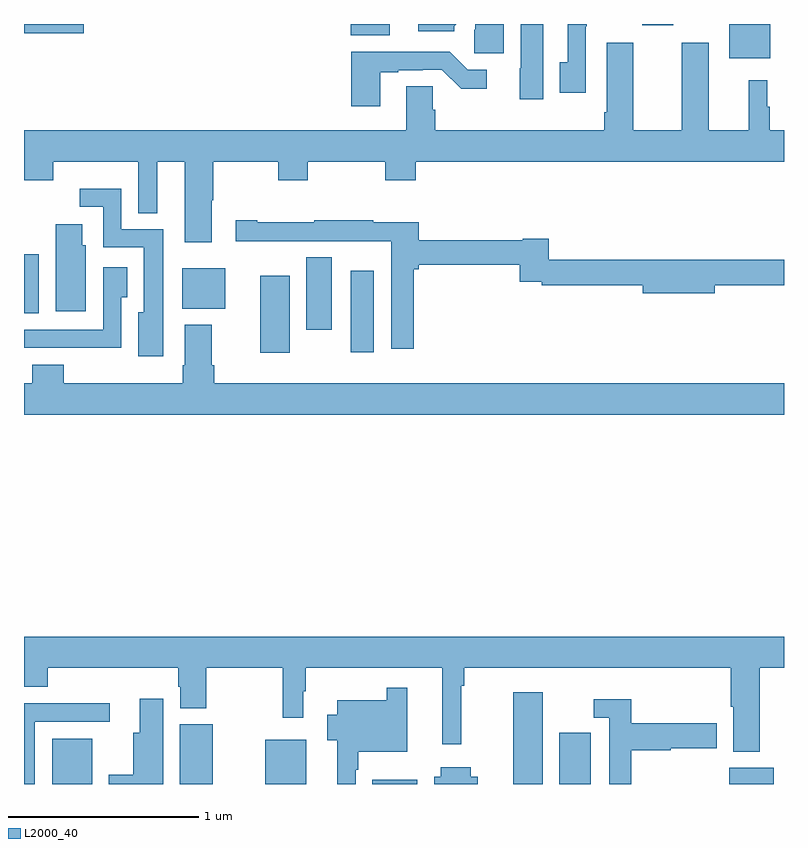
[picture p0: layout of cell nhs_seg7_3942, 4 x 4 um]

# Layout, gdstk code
import gdstk
lib = gdstk.Library(unit=1e-6, precision=1e-09)
def R(c, l, rs):  # rectangles x0, y0, x1, y1
    for r in rs: c.add(gdstk.rectangle(r[:2], r[2:], *l))
def P(c, l, *ps):  # polygons
    for p in ps: c.add(gdstk.Polygon(p, *l))
L2000_40 = (2000, 40)

nhs_seg7_3942 = lib.new_cell('nhs_seg7_3942')
R(nhs_seg7_3942, L2000_40, [(361.148,1004,361.36,1004.239), (361.82,1004,361.993,1004.314), (362.27,1004,362.485,1004.233), (362.834,1004,363.07,1004.023), (363.575,1004,363.73,1004.482), (363.818,1004,363.982,1004.269), (364.712,1004,364.945,1004.086), (362.243,1006.269,362.398,1006.675), (362.72,1006.272,362.842,1006.702), (362.486,1006.392,362.62,1006.772), (361,1006.477,361.078,1006.788), (361.832,1006.502,362.059,1006.714), (364.712,1007.819,364.927,1008), (362.72,1007.942,362.926,1008), (361,1007.951,361.315,1008), (364.253,1007.994,364.417,1008)])
P(nhs_seg7_3942, L2000_40, [(363.526,1008),(363.374,1008),(363.374,1007.97),(363.37,1007.97),(363.37,1007.847),(363.526,1007.847)],
  [(363.733,1008),(363.614,1008),(363.614,1007.766),(363.608,1007.766),(363.608,1007.604),(363.733,1007.604)],
  [(363.264,1007.988),(363.276,1008),(363.074,1008),(363.074,1007.963),(363.264,1007.963)],
  [(363.957,1007.989),(363.962,1007.989),(363.962,1008),(363.861,1008),(363.861,1007.798),(363.821,1007.798),(363.821,1007.637),(363.957,1007.637)],
  [(361.987,1007.072),(361.995,1007.072),(361.995,1007.276),(362.338,1007.276),(362.338,1007.177),(362.493,1007.177),(362.493,1007.276),(362.902,1007.276),(362.902,1007.177),(363.062,1007.177),(363.062,1007.276),(365,1007.276),(365,1007.44),(364.924,1007.44),(364.924,1007.564),(364.912,1007.564),(364.912,1007.704),(364.814,1007.704),(364.814,1007.44),(364.603,1007.44),(364.603,1007.902),(364.463,1007.902),(364.463,1007.44),(364.207,1007.44),(364.207,1007.902),(364.067,1007.902),(364.067,1007.536),(364.055,1007.536),(364.055,1007.44),(363.164,1007.44),(363.164,1007.55),(363.15,1007.55),(363.15,1007.672),(363.011,1007.672),(363.011,1007.44),(361,1007.44),(361,1007.177),(361.155,1007.177),(361.155,1007.276),(361.601,1007.276),(361.601,1007.005),(361.702,1007.005),(361.702,1007.276),(361.847,1007.276),(361.847,1006.851),(361.987,1006.851)],
  [(362.875,1007.745),(362.971,1007.745),(362.971,1007.757),(363.098,1007.757),(363.098,1007.76),(363.198,1007.76),(363.301,1007.658),(363.436,1007.658),(363.436,1007.76),(363.336,1007.76),(363.242,1007.854),(362.723,1007.854),(362.723,1007.568),(362.875,1007.568)],
  [(361.732,1006.92),(361.512,1006.92),(361.512,1007.134),(361.293,1007.134),(361.293,1007.037),(361.416,1007.037),(361.416,1006.824),(361.631,1006.824),(361.631,1006.483),(361.601,1006.483),(361.601,1006.251),(361.732,1006.251)],
  [(363.05,1006.709),(363.077,1006.709),(363.077,1006.732),(363.608,1006.732),(363.608,1006.644),(363.724,1006.644),(363.724,1006.624),(364.256,1006.624),(364.256,1006.582),(364.636,1006.582),(364.636,1006.624),(365,1006.624),(365,1006.76),(363.761,1006.76),(363.761,1006.869),(363.624,1006.869),(363.624,1006.861),(363.077,1006.861),(363.077,1006.956),(362.837,1006.956),(362.837,1006.966),(362.527,1006.966),(362.527,1006.956),(362.227,1006.956),(362.227,1006.966),(362.115,1006.966),(362.115,1006.856),(362.39,1006.856),(362.39,1006.857),(362.724,1006.857),(362.724,1006.856),(362.934,1006.856),(362.934,1006.29),(363.05,1006.29)],
  [(361.324,1006.836),(361.306,1006.836),(361.306,1006.945),(361.166,1006.945),(361.166,1006.488),(361.324,1006.488)],
  [(361.512,1006.561),(361.543,1006.561),(361.543,1006.72),(361.416,1006.72),(361.416,1006.392),(361,1006.392),(361,1006.296),(361.291,1006.296),(361.291,1006.295),(361.512,1006.295)],
  [(365,1006.108),(362,1006.108),(362,1006.204),(361.987,1006.204),(361.987,1006.417),(361.847,1006.417),(361.847,1006.204),(361.835,1006.204),(361.835,1006.108),(361.208,1006.108),(361.208,1006.207),(361.043,1006.207),(361.043,1006.108),(361,1006.108),(361,1005.944),(365,1005.944)],
  [(361,1004.513),(361.124,1004.513),(361.124,1004.612),(361.811,1004.612),(361.811,1004.511),(361.823,1004.511),(361.823,1004.399),(361.959,1004.399),(361.959,1004.612),(362.361,1004.612),(362.361,1004.349),(362.469,1004.349),(362.469,1004.489),(362.482,1004.489),(362.482,1004.612),(363.2,1004.612),(363.2,1004.208),(363.302,1004.208),(363.302,1004.516),(363.317,1004.516),(363.317,1004.612),(364.721,1004.612),(364.721,1004.407),(364.733,1004.407),(364.733,1004.171),(364.873,1004.171),(364.873,1004.612),(365,1004.612),(365,1004.776),(361,1004.776)],
  [(362.745,1004.075),(362.758,1004.075),(362.758,1004.171),(363.018,1004.171),(363.018,1004.506),(362.91,1004.506),(362.91,1004.44),(362.648,1004.44),(362.648,1004.365),(362.597,1004.365),(362.597,1004.231),(362.648,1004.231),(362.648,1004),(362.745,1004)],
  [(361.732,1004.449),(361.61,1004.449),(361.61,1004.269),(361.574,1004.269),(361.574,1004.05),(361.445,1004.05),(361.445,1004),(361.732,1004)],
  [(364.196,1004.177),(364.403,1004.177),(364.403,1004.189),(364.645,1004.189),(364.645,1004.319),(364.196,1004.319),(364.196,1004.446),(363.999,1004.446),(363.999,1004.349),(364.08,1004.349),(364.08,1004),(364.196,1004)],
  [(361.057,1004.328),(361.45,1004.328),(361.45,1004.426),(361,1004.426),(361,1004),(361.057,1004)],
  [(363.388,1004.038),(363.352,1004.038),(363.352,1004.089),(363.194,1004.089),(363.194,1004.038),(363.158,1004.038),(363.158,1004),(363.388,1004)])

lib.write_gds('nhs_seg7_3942.gds')
